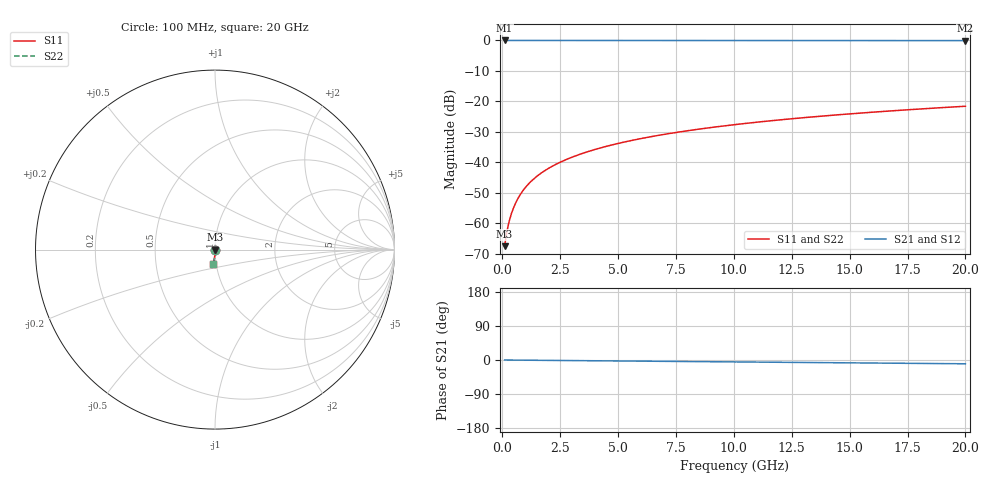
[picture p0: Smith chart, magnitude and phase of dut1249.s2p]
! Touchstone file exported from HFSS 2026.1.0
!  File:  C:/ffzhzh/LocalFiles/Ansys_Project_Files/temp_train_TSV_1249_1783193678_43440.aedt
!  Generated:  03:36:11 AM Jul  5, 2026
!  Design:  TSV
!  Project:  temp_train_TSV_1249_1783193678_43440
! Variables:
!  h_bsmrdl = 2um
!  h_ox = 20um
!  h_rdl = 5um
!  h_sub = 96.66um
!  h_tmrdl = 5um
!  h_tsv = 96.66um
!  h_via = 3um
!  l_bsmrdl = 300um
!  l_sub = 415.26um
!  l_tmrdl = 200um
!  m_sub = 200um
!  pitch = 20.4um
!  r_tsv = 7.63um
!  s_tmrdl = 10um
!  w_bsmrdl = 18um
!  w_sub = 500um
!  w_tmrdl = 12um
!  x_tsv_center1 = 206um
!  x_tsv_center2 = 524um
!  x_tsv_center3 = 736um
!  x_tsv_center4 = 1054um
!  x_tsv_center5 = 1266um
!  x_tsv_center6 = 1584um
# GHz S MA R 50.000000
! Terminal data exported
! Port[1] = TSV1_1_T1
! Port[2] = TSV1_1_T2
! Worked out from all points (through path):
!   200 points, 100 MHz to 20 GHz, reference 50 ohm
!   highest |S21| = 0.00 dB at 100 MHz (marker M1); lowest = -0.1 dB at 20 GHz (marker M2)
!   group delay of S21, straight-line fit = 1.38 ps
!   lowest |S11| = -67.6 dB at 100 MHz (marker M3), VSWR 1.00, Z = 50 - j0.0336 ohm
!   |S11| at or under -10 dB: start of sweep to end of sweep
!   |S22| runs from -67.6 to -21.6 dB; largest |S21 - S12| = 3e-15
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0.1  0.000418 -53.4  0.9998 -0.1  0.9998 -0.1  0.000418 -53.4
! Gamma 0 0 0 0
! Port Impedance 50 0 50 0
0.2  0.0007338 -67.9  0.9997 -0.1  0.9997 -0.1  0.0007338 -67.9
0.3  0.001084 -73.1  0.9997 -0.2  0.9997 -0.2  0.001084 -73.1
0.4  0.001454 -75.8  0.9996 -0.2  0.9996 -0.2  0.001454 -75.8
0.5  0.001839 -77.5  0.9996 -0.3  0.9996 -0.3  0.001839 -77.5
0.7  0.002633 -79.7  0.9995 -0.4  0.9995 -0.4  0.002633 -79.7
0.8  0.003037 -80.6  0.9995 -0.4  0.9995 -0.4  0.003037 -80.6
1  0.003852 -82.0  0.9994 -0.5  0.9994 -0.5  0.003852 -82.0
1.2  0.00467 -83.0  0.9994 -0.6  0.9994 -0.6  0.00467 -83.0
1.4  0.005489 -83.9  0.9993 -0.7  0.9993 -0.7  0.005489 -83.9
1.7  0.006717 -84.9  0.9993 -0.9  0.9993 -0.9  0.006717 -84.9
2  0.007946 -85.6  0.9992 -1.0  0.9992 -1.0  0.007946 -85.6
2.7  0.01082 -86.9  0.9991 -1.4  0.9991 -1.4  0.01082 -86.9
3.5  0.01411 -87.9  0.9989 -1.8  0.9989 -1.8  0.01411 -87.9
4.2  0.01701 -88.6  0.9988 -2.1  0.9988 -2.1  0.01701 -88.6
5  0.02034 -89.3  0.9986 -2.5  0.9986 -2.5  0.02034 -89.3
6.8  0.02786 -90.6  0.9982 -3.4  0.9982 -3.4  0.02786 -90.6
8.3  0.03415 -91.6  0.9979 -4.2  0.9979 -4.2  0.03415 -91.6
10.1  0.0417 -92.8  0.9975 -5.1  0.9975 -5.1  0.0417 -92.8
13.4  0.05552 -94.7  0.9965 -6.7  0.9965 -6.7  0.05553 -94.7
16.7  0.06931 -96.6  0.9954 -8.4  0.9954 -8.4  0.06931 -96.6
20  0.08305 -98.3  0.9941 -10.0  0.9941 -10.0  0.08305 -98.3
